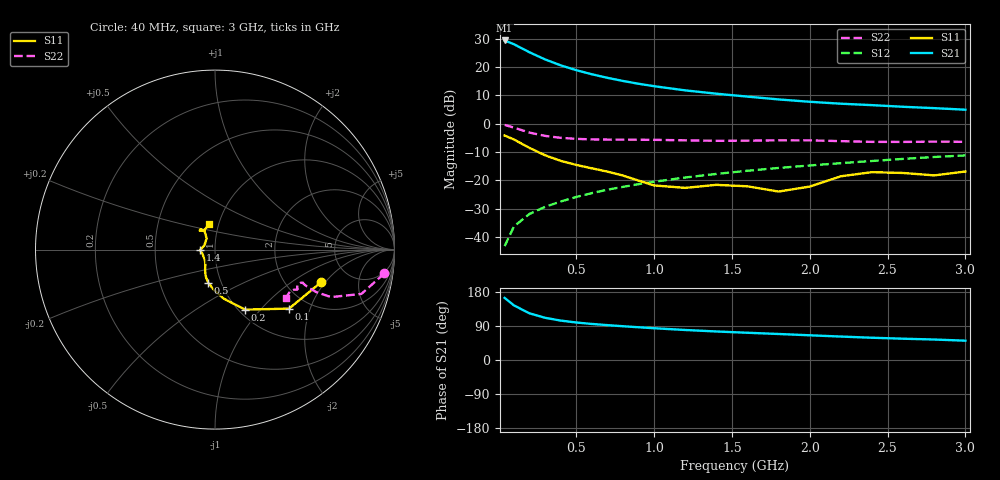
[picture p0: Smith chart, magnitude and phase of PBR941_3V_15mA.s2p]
! Filename:  PBR941F.S2P  Version:  3.0
! Philips part #:  PBR941  Date: July 1998
! Bias condition:  Vce=3V, Ic=15mA
#  MHz  S  MA  R 50
! Freq  S11  S21  S12  S22
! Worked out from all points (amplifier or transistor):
!   21 points, 40 MHz to 3 GHz, reference 50 ohm
!   highest |S21| = 29.3 dB at 40 MHz (marker M1)
!   |S21| within 3 dB of that: start of sweep to 158.7 MHz
!   unconditionally stable (mu >= 1): 804.3 MHz to 2.264 GHz
!   at 300 MHz: K = 0.81, MSG = 26.0 dB, |S12| = -29.3 dB
!   at 1 GHz: K = 1.02, MAG = 16.0 dB, |S12| = -20.4 dB
!   at 3 GHz: K = 0.98, MSG = 8.1 dB, |S12| = -11.2 dB
!   S11 on the Smith chart (normalised r, x): 40 MHz: 3.11, -1.82; 100 MHz: 1.59, -1.45; 200 MHz: 1.07, -0.83; 500 MHz: 0.87, -0.33; 1.4 GHz: 0.85, -0.01; 3 GHz: 0.90, +0.26
40  0.6198 -16.9  29.3 163.9  0.006961 80.7  0.9531 -8.0
100  0.5275 -38.6  25.12 144.0  0.0155 75.1  0.8523 -16.8
200  0.3743 -63.3  18.13 123.1  0.02573 71.2  0.6975 -22.3
300  0.2777 -79.9  13.58 111.4  0.03429 72.3  0.6103 -22.8
400  0.2221 -92.2  10.68 104.0  0.04258 73.7  0.5645 -22.1
500  0.1878 -101.6  8.782 98.9  0.0512 75.5  0.541 -21.6
600  0.1639 -107.6  7.437 95.2  0.05986 76.1  0.5296 -21.1
700  0.1432 -112.1  6.441 92.0  0.06876 77.3  0.5252 -20.9
800  0.1221 -116.8  5.671 89.1  0.07717 77.6  0.5239 -20.7
900  0.09965 -122.8  5.061 86.4  0.08615 78.3  0.5227 -20.6
1000  0.08179 -133.2  4.583 83.9  0.09496 78.2  0.52 -20.7
1200  0.07409 -163.2  3.868 79.2  0.1129 78.3  0.5097 -21.4
1400  0.08376 -177.4  3.381 75.3  0.1304 77.9  0.5002 -22.9
1600  0.0789 178.3  3 71.9  0.1484 77.9  0.5024 -24.4
1800  0.0638 157.9  2.681 68.6  0.1662 77.6  0.5106 -25.4
2000  0.07807 126.3  2.434 65.2  0.1837 76.8  0.5088 -26.0
2200  0.1187 119.7  2.252 61.8  0.202 75.9  0.4934 -26.9
2400  0.1401 125.4  2.125 58.8  0.2205 75.2  0.4788 -29.1
2600  0.1356 129.0  1.988 56.2  0.2402 74.8  0.4774 -31.9
2800  0.1229 119.5  1.881 54.0  0.2593 74.1  0.4836 -33.8
3000  0.1439 103.0  1.766 51.0  0.2766 72.9  0.4801 -34.4
